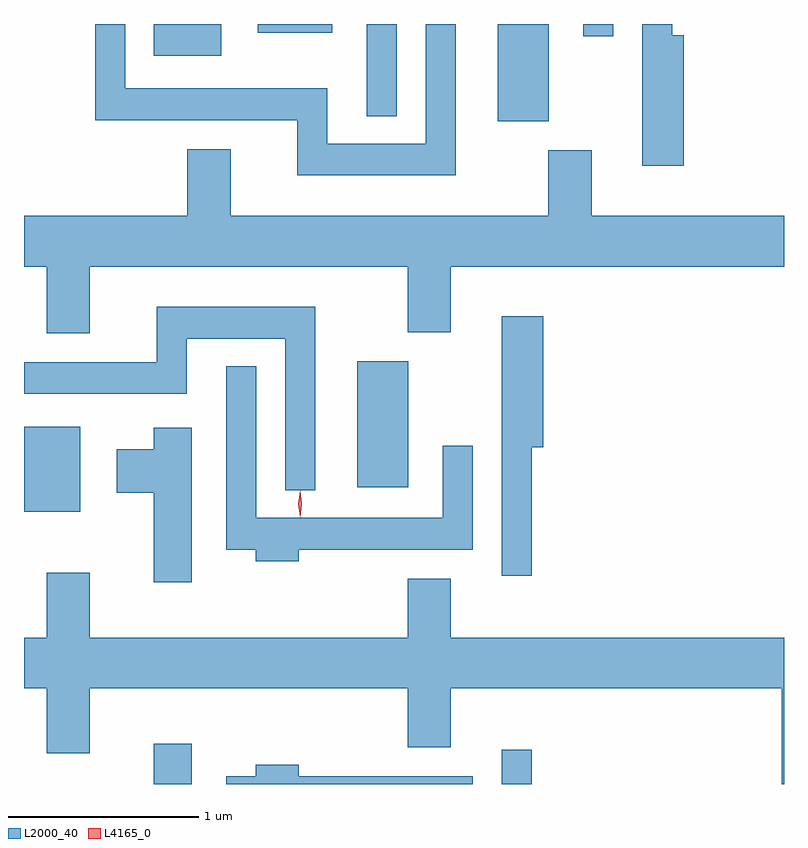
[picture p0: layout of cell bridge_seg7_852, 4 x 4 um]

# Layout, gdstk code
import gdstk
lib = gdstk.Library(unit=1e-6, precision=1e-09)
def R(c, l, rs):  # rectangles x0, y0, x1, y1
    for r in rs: c.add(gdstk.rectangle(r[:2], r[2:], *l))
def P(c, l, *ps):  # polygons
    for p in ps: c.add(gdstk.Polygon(p, *l))
L2000_40 = (2000, 40)
L4165_0 = (4165, 0)

bridge_seg7_852 = lib.new_cell('bridge_seg7_852')
R(bridge_seg7_852, L2000_40, [(318.896,1689.393,319.094,1689.604), (320.726,1689.393,320.884,1689.573), (318.212,1690.826,318.509,1691.274), (319.966,1690.956,320.234,1691.619), (320.706,1692.881,320.974,1693.393), (320.016,1692.908,320.174,1693.393), (318.896,1693.226,319.249,1693.393), (321.156,1693.328,321.314,1693.393), (319.441,1693.346,319.834,1693.393)])
P(bridge_seg7_852, L2000_40, [(321.684,1693.334),(321.624,1693.334),(321.624,1693.393),(321.466,1693.393),(321.466,1692.646),(321.684,1692.646)],
  [(320.484,1693.393),(320.326,1693.393),(320.326,1692.764),(319.809,1692.764),(319.809,1693.054),(318.744,1693.054),(318.744,1693.393),(318.586,1693.393),(318.586,1692.886),(319.651,1692.886),(319.651,1692.596),(320.484,1692.596)],
  [(318.559,1692.116),(320.231,1692.116),(320.231,1691.771),(320.459,1691.771),(320.459,1692.116),(322.212,1692.116),(322.212,1692.384),(321.199,1692.384),(321.199,1692.729),(320.971,1692.729),(320.971,1692.384),(319.299,1692.384),(319.299,1692.734),(319.071,1692.734),(319.071,1692.384),(318.212,1692.384),(318.212,1692.116),(318.331,1692.116),(318.331,1691.766),(318.559,1691.766)],
  [(319.744,1691.904),(318.911,1691.904),(318.911,1691.614),(318.212,1691.614),(318.212,1691.446),(319.069,1691.446),(319.069,1691.736),(319.586,1691.736),(319.586,1690.938),(319.744,1690.938)],
  [(320.884,1691.166),(320.944,1691.166),(320.944,1691.854),(320.726,1691.854),(320.726,1690.488),(320.884,1690.488)],
  [(319.659,1690.626),(320.574,1690.626),(320.574,1691.173),(320.416,1691.173),(320.416,1690.794),(319.434,1690.794),(319.434,1691.593),(319.276,1691.593),(319.276,1690.626),(319.431,1690.626),(319.431,1690.566),(319.659,1690.566)],
  [(319.094,1691.269),(318.896,1691.269),(318.896,1691.154),(318.701,1691.154),(318.701,1690.926),(318.896,1690.926),(318.896,1690.456),(319.094,1690.456)],
  [(322.212,1690.164),(320.459,1690.164),(320.459,1690.474),(320.231,1690.474),(320.231,1690.164),(318.559,1690.164),(318.559,1690.504),(318.331,1690.504),(318.331,1690.164),(318.212,1690.164),(318.212,1689.896),(318.331,1689.896),(318.331,1689.556),(318.559,1689.556),(318.559,1689.896),(320.231,1689.896),(320.231,1689.586),(320.459,1689.586),(320.459,1689.896),(322.201,1689.896),(322.201,1689.393),(322.212,1689.393)],
  [(320.574,1689.434),(319.659,1689.434),(319.659,1689.494),(319.431,1689.494),(319.431,1689.434),(319.276,1689.434),(319.276,1689.393),(320.574,1689.393)])
P(bridge_seg7_852, L4165_0, [(319.665,1690.797),(319.665,1690.798),(319.655,1690.867),(319.665,1690.936),(319.665,1690.936),(319.666,1690.936),(319.675,1690.867),(319.666,1690.798)],
  [(319.665,1690.8),(319.665,1690.8),(319.655,1690.866),(319.665,1690.932),(319.665,1690.933),(319.666,1690.932),(319.675,1690.866),(319.666,1690.8)])

lib.write_gds('bridge_seg7_852.gds')
